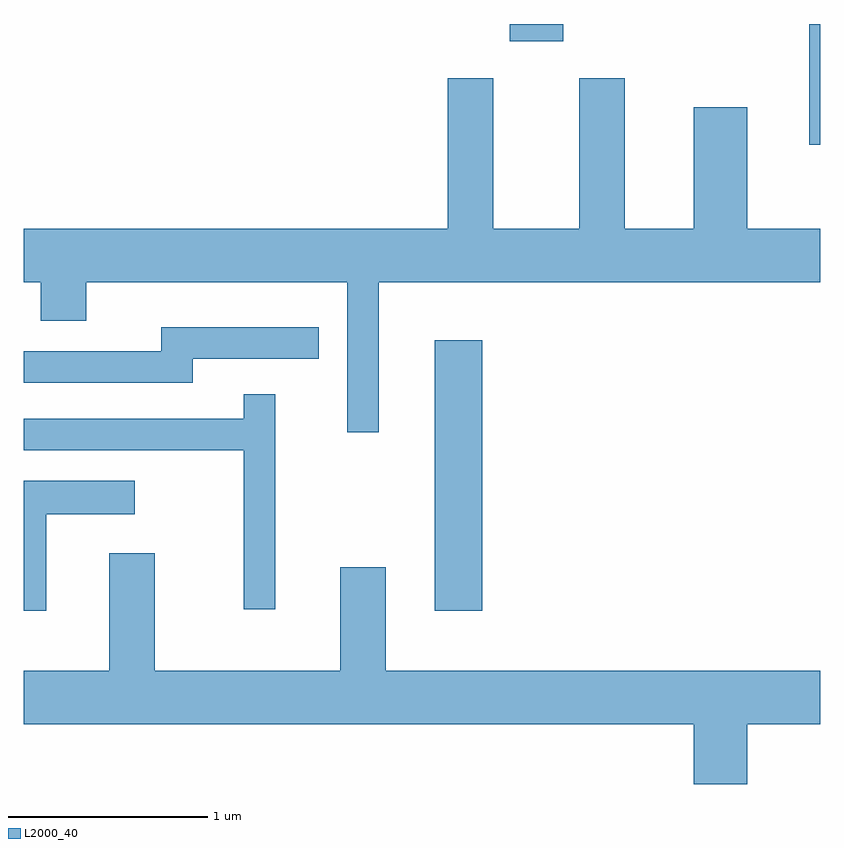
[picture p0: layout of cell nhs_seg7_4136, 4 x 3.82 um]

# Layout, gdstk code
import gdstk
lib = gdstk.Library(unit=1e-6, precision=1e-09)
def R(c, l, rs):  # rectangles x0, y0, x1, y1
    for r in rs: c.add(gdstk.rectangle(r[:2], r[2:], *l))
def P(c, l, *ps):  # polygons
    for p in ps: c.add(gdstk.Polygon(p, *l))
L2000_40 = (2000, 40)

nhs_seg7_4136 = lib.new_cell('nhs_seg7_4136')
R(nhs_seg7_4136, L2000_40, [(313.676,1739.306,313.914,1740.664), (315.556,1741.646,315.611,1742.252), (314.051,1742.166,314.319,1742.252)])
P(nhs_seg7_4136, L2000_40, [(313.394,1740.956),(315.611,1740.956),(315.611,1741.224),(315.244,1741.224),(315.244,1741.834),(314.976,1741.834),(314.976,1741.224),(314.629,1741.224),(314.629,1741.979),(314.401,1741.979),(314.401,1741.224),(313.969,1741.224),(313.969,1741.979),(313.741,1741.979),(313.741,1741.224),(311.611,1741.224),(311.611,1740.956),(311.696,1740.956),(311.696,1740.761),(311.924,1740.761),(311.924,1740.956),(313.236,1740.956),(313.236,1740.203),(313.394,1740.203)],
  [(312.459,1740.571),(313.093,1740.571),(313.093,1740.729),(312.301,1740.729),(312.301,1740.609),(311.611,1740.609),(311.611,1740.451),(312.459,1740.451)],
  [(312.874,1740.393),(312.716,1740.393),(312.716,1740.269),(311.611,1740.269),(311.611,1740.111),(312.716,1740.111),(312.716,1739.313),(312.874,1739.313)],
  [(311.724,1739.791),(312.168,1739.791),(312.168,1739.959),(311.611,1739.959),(311.611,1739.306),(311.724,1739.306)],
  [(315.244,1738.736),(315.611,1738.736),(315.611,1739.004),(313.429,1739.004),(313.429,1739.524),(313.201,1739.524),(313.201,1739.004),(312.269,1739.004),(312.269,1739.594),(312.041,1739.594),(312.041,1739.004),(311.611,1739.004),(311.611,1738.736),(314.976,1738.736),(314.976,1738.436),(315.244,1738.436)])

lib.write_gds('nhs_seg7_4136.gds')
